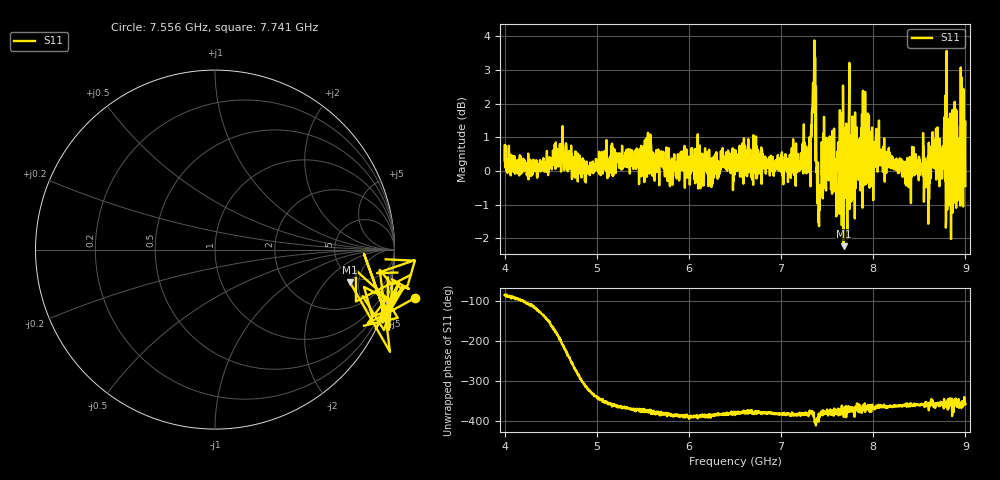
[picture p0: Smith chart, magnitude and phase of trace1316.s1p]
! Created with skrf 1.8.0 (http://scikit-rf.org).
# Hz S RI R 50.0
!freq ReS11 ImS11
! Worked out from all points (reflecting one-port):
!   1601 points, 4 GHz to 9 GHz, reference 50 ohm
!   lowest |S11| = -2.2 dB at 7.678 GHz (marker M1), VSWR 7.82, Z = 212 - j192 ohm
!   phase of S11 starts at -84 deg and turns -274 deg over the sweep
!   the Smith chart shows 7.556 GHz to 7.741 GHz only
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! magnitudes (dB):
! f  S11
! 4 GHz  0.3
! 4.247 GHz  -0.1
! 4.625 GHz  0.9
! 4.894 GHz  0.0
! 5.25 GHz  0.4
! 5.566 GHz  0.3
! 5.875 GHz  0.1
! 6.5 GHz  0.3
! 7.125 GHz  0.6
! 7.294 GHz  0.2
! 7.353 GHz  1.7
! 7.412 GHz  -1.6
! 7.481 GHz  -0.5
! 7.678 GHz  -2.2
! 7.75 GHz  0.0
! 7.788 GHz  0.0
! 7.891 GHz  0.0
! 7.981 GHz  -0.4
! 8.047 GHz  0.0
! 8.375 GHz  -0.1
! 8.522 GHz  0.1
! 8.575 GHz  -0.5
! 8.656 GHz  0.6
! 8.738 GHz  0.6
! 8.816 GHz  0.4
! 8.856 GHz  0.6
! 8.972 GHz  0.0
! 9 GHz  -0.5
